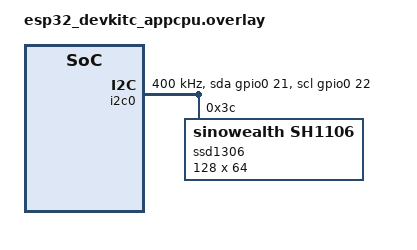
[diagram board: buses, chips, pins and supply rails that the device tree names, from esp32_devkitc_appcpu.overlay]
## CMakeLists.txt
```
cmake_minimum_required(VERSION 3.20.0)

find_package(Zephyr REQUIRED HINTS $ENV{ZEPHYR_BASE})

project(wol_appcpu)

target_include_directories(app PRIVATE
    ${CMAKE_SOURCE_DIR}/inc
    ${CMAKE_SOURCE_DIR}/../shared
)

target_sources(app PRIVATE src/main.c)
```

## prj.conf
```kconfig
# --- appcpu: display only ---
CONFIG_GPIO=y
CONFIG_I2C=y
CONFIG_DISPLAY=y
CONFIG_SSD1306=y
CONFIG_CHARACTER_FRAMEBUFFER=y
CONFIG_CHARACTER_FRAMEBUFFER_USE_DEFAULT_FONTS=n

CONFIG_MAIN_STACK_SIZE=4096
CONFIG_HEAP_MEM_POOL_SIZE=8192
CONFIG_LOG=y
CONFIG_PRINTK=y
```

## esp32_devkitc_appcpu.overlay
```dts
#include <zephyr/dt-bindings/i2c/i2c.h>
#include <dt-bindings/pinctrl/esp32-pinctrl.h>

/ {
	chosen {
		zephyr,display = &ssd1306;
	};
};

&i2c0 {
	status = "okay";
	clock-frequency = <I2C_BITRATE_FAST>;
	pinctrl-0 = <&i2c0_default>;
	pinctrl-names = "default";
	sda-gpios = <&gpio0 21 GPIO_OPEN_DRAIN>;
	scl-gpios = <&gpio0 22 GPIO_OPEN_DRAIN>;

	ssd1306: ssd1306@3c {
		compatible = "sinowealth,sh1106";
		reg = <0x3c>;
		width = <128>;
		height = <64>;
		segment-offset = <2>;
		page-offset = <0>;
		display-offset = <0>;
		multiplex-ratio = <63>;
		prechargep = <0x22>;
		ready-time-ms = <10>;
		segment-remap;
		com-invdir;
		use-internal-iref;
	};
};

&pinctrl {
	i2c0_default: i2c0_default {
		group1 {
			pinmux = <0x1E1E15>, <0x1D1D16>;
			bias-pull-up;
			drive-open-drain;
			output-high;
		};
	};
};
```

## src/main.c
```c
#include <zephyr/kernel.h>
#include <zephyr/device.h>
#include <zephyr/drivers/display.h>
#include <zephyr/display/cfb.h>
#include <zephyr/net/net_ip.h>
#include <stdio.h>
#include <string.h>
#include <stdbool.h>

#include "shared_mem.h"
#include "custom_font.h"

/* Convenience macro — appcpu only reads from shared state */
#define S (SHARED_STATE())

int main(void) {

    /* Wait for procpu to signal display start */
    printk("[APPCPU] Display core waiting...\n");
    while (!S->display_start_flag) {
        k_msleep(10);
    }
    printk("[APPCPU] Display core starting.\n");

    const struct device *disp = DEVICE_DT_GET(DT_CHOSEN(zephyr_display));

    int rc = cfb_framebuffer_init(disp);
    if (rc) {
        printk("[APPCPU] cfb_framebuffer_init failed: %d\n", rc);
        return -1;
    }

    // Apply the font loaded from custom_font.h
    cfb_framebuffer_set_font(disp, 0);
    cfb_framebuffer_invert(disp);

    /* --- FETCH TOTAL SCREEN DIMENSIONS --- */
    uint16_t screen_w = cfb_get_display_parameter(disp, CFB_DISPLAY_WIDTH);
    uint16_t screen_h = cfb_get_display_parameter(disp, CFB_DISPLAY_HEIGHT);
    uint8_t f_w, f_h;
    cfb_get_font_size(disp, 0, &f_w, &f_h);

    /* --- VERTICAL CENTERING MATH --- */
    // Divide the empty space by 4 (top margin, between row 1-2, between row 2-3, bottom margin)
    int gap_y = (screen_h - (3 * f_h)) / 4; 
    
    int y1 = gap_y;                 // Y position of row 1
    int y2 = y1 + f_h + gap_y;      // Y position of row 2
    int y3 = y2 + f_h + gap_y;      // Y position of row 3

    cfb_framebuffer_clear(disp, false);
    cfb_framebuffer_finalize(disp);
    display_blanking_off(disp);

    /* --- AP MODE: static screen --- */
    if (S->display_ap_mode) {
        const char *line1 = "WOL_ESP";
        const char *line2 = "192.168";
        const char *line3 = ".4.1";

        int x1 = (screen_w - (strlen(line1) * f_w)) / 2;
        int x2 = (screen_w - (strlen(line2) * f_w)) / 2;
        int x3 = (screen_w - (strlen(line3) * f_w)) / 2;

        cfb_print(disp, line1, (x1 < 0) ? 0 : x1, y1);
        cfb_print(disp, line2, (x2 < 0) ? 0 : x2, y2);
        cfb_print(disp, line3, (x3 < 0) ? 0 : x3, y3);
        cfb_framebuffer_finalize(disp);

        /* AP mode is static — just idle forever */
        while (1) { k_msleep(1000); }
    }

    /* --- STATION MODE: animated loop --- */
    static char prev_ip[INET_ADDRSTRLEN] = "";
    uint8_t anim_state = 0;

    while (1) {
        /* Rate-limit to ~40 FPS; also wake on ui_refresh_flag */
        if (S->ui_refresh_flag) {
            S->ui_refresh_flag = 0;
        } else {
            k_msleep(10);
        }

        /* ANIMATION (Y = y1) - Expanded to 21 characters wide (full screen width) */
        const char *arrows[] = {
            ">                    ", // 1
            ">>                   ", // 2
            ">>>                  ", // 3
            ">>>>                 ", // 4
            ">>>>>                ", // 5
            ">>>>>>               ", // 6
            ">>>>>>>              ", // 7
            ">>>>>>>>             ", // 8
            " >>>>>>>>            ", // 9
            "  >>>>>>>>           ", // 10
            "   >>>>>>>>          ", // 11
            "    >>>>>>>>         ", // 12
            "     >>>>>>>>        ", // 13
            "      >>>>>>>>       ", // 14
            "       >>>>>>>>      ", // 15
            "        >>>>>>>>     ", // 16
            "         >>>>>>>>    ", // 17
            "          >>>>>>>>   ", // 18
            "           >>>>>>>>  ", // 19
            "            >>>>>>>> ", // 20
            "             >>>>>>>>", // 21
            "              >>>>>>>", // 22
            "               >>>>>>", // 23
            "                >>>>>", // 24
            "                 >>>>", // 25
            "                  >>>", // 26
            "                   >>", // 27
            "                    >"  // 28
        };
        int num_frames = sizeof(arrows) / sizeof(arrows[0]); 
        int anim_w = 21 * f_w; // Total width in pixels (126 px)
        int anim_x = (screen_w - anim_w) / 2;
        
        // 21 spaces to clear the entire row from edge to edge
        cfb_print(disp, "                     ", anim_x, y1); 
        cfb_print(disp, arrows[anim_state], anim_x, y1);
        anim_state = (anim_state + 1) % num_frames;

        /* IP ADDRESS (Y = y2) */
        bool has_ip = S->has_ip;

        if (!has_ip) {
            cfb_print(disp, "                     ",             0, y2);
            cfb_print(disp, "Waiting",  (screen_w - (7 * f_w)) / 2, y2);
            cfb_print(disp, "                     ",             0, y3);
            cfb_print(disp, "WIFI",     (screen_w - (4 * f_w)) / 2, y3);
            prev_ip[0] = '\0';
        } else {
            char ip_buf[INET_ADDRSTRLEN];
            strncpy(ip_buf, (const char *)S->global_ip_str, sizeof(ip_buf) - 1);
            ip_buf[sizeof(ip_buf) - 1] = '\0';

            // Compare and draw the FULL IP address
            if (strcmp(ip_buf, prev_ip) != 0 || strlen(prev_ip) == 0) {
                cfb_print(disp, "                     ", 0, y2); // 21 spaces to clear
                int ip_x = (screen_w - (strlen(ip_buf) * f_w)) / 2;
                if (ip_x < 0) ip_x = 0;
                cfb_print(disp, ip_buf, ip_x, y2);
                
                strncpy(prev_ip, ip_buf, sizeof(prev_ip) - 1);
                prev_ip[sizeof(prev_ip) - 1] = '\0';
            } else {
                int ip_x = (screen_w - (strlen(prev_ip) * f_w)) / 2;
                if (ip_x < 0) ip_x = 0;
                cfb_print(disp, prev_ip, ip_x, y2);
            }

            /* TARGET PC FULL IP (Y = y3) */
            char tgt_buf[INET_ADDRSTRLEN];
            strncpy(tgt_buf, (const char *)S->target_pc_ip, sizeof(tgt_buf) - 1);
            tgt_buf[sizeof(tgt_buf) - 1] = '\0';

            char target_line[24] = "";
            snprintf(target_line, sizeof(target_line),
                     S->last_known_state ? " * %s " : " x %s ", tgt_buf);

            int text_len = strlen(target_line);
            int tgt_x = (screen_w - (text_len * f_w)) / 2;
            if (tgt_x < 0) tgt_x = 0;

            cfb_print(disp, "                     ", 0, y3); // 21 spaces to clear
            cfb_print(disp, target_line, tgt_x, y3);

        }

        cfb_framebuffer_finalize(disp);
    }

    return 0;
}
```

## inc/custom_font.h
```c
#ifndef CUSTOM_FONT_H
#define CUSTOM_FONT_H

#include <zephyr/display/cfb.h>
#include <zephyr/sys/iterable_sections.h>

//#define CUSTOM_FONT_6X8
#define CUSTOM_FONT_5X8
//#define CUSTOM_FONT_4X8

static const uint8_t custom_font_6x8_data[] = {
    /* 0x20 ' ' */ 0x00, 0x00, 0x00, 0x00, 0x00, 0x00,
    /* 0x21 '!' */ 0x00, 0x00, 0x5F, 0x00, 0x00, 0x00,
    /* 0x22 '"' */ 0x00, 0x07, 0x00, 0x07, 0x00, 0x00,
    /* 0x23 '#' */ 0x14, 0x7F, 0x14, 0x7F, 0x14, 0x00,
    /* 0x24 '$' */ 0x24, 0x2A, 0x7F, 0x2A, 0x12, 0x00,
    /* 0x25 '%' */ 0x23, 0x13, 0x08, 0x64, 0x62, 0x00,
    /* 0x26 '&' */ 0x36, 0x49, 0x55, 0x22, 0x50, 0x00,
    /* 0x27 ''' */ 0x00, 0x05, 0x03, 0x00, 0x00, 0x00,
    /* 0x28 '(' */ 0x00, 0x1C, 0x22, 0x41, 0x00, 0x00,
    /* 0x29 ')' */ 0x00, 0x41, 0x22, 0x1C, 0x00, 0x00,
    /* 0x2A '*' */ 0x14, 0x08, 0x3E, 0x08, 0x14, 0x00,
    /* 0x2B '+' */ 0x08, 0x08, 0x3E, 0x08, 0x08, 0x00,
    /* 0x2C ',' */ 0x00, 0x50, 0x30, 0x00, 0x00, 0x00,
    /* 0x2D '-' */ 0x08, 0x08, 0x08, 0x08, 0x08, 0x00,
    /* 0x2E '.' */ 0x00, 0x60, 0x60, 0x00, 0x00, 0x00,
    /* 0x2F '/' */ 0x20, 0x10, 0x08, 0x04, 0x02, 0x00,
    /* 0x30 '0' */ 0x3E, 0x51, 0x49, 0x45, 0x3E, 0x00,
    /* 0x31 '1' */ 0x00, 0x42, 0x7F, 0x40, 0x00, 0x00,
    /* 0x32 '2' */ 0x42, 0x61, 0x51, 0x49, 0x46, 0x00,
    /* 0x33 '3' */ 0x21, 0x41, 0x45, 0x4B, 0x31, 0x00,
    /* 0x34 '4' */ 0x18, 0x14, 0x12, 0x7F, 0x10, 0x00,
    /* 0x35 '5' */ 0x27, 0x45, 0x45, 0x45, 0x39, 0x00,
    /* 0x36 '6' */ 0x3C, 0x4A, 0x49, 0x49, 0x30, 0x00,
    /* 0x37 '7' */ 0x01, 0x71, 0x09, 0x05, 0x03, 0x00,
    /* 0x38 '8' */ 0x36, 0x49, 0x49, 0x49, 0x36, 0x00,
    /* 0x39 '9' */ 0x06, 0x49, 0x49, 0x29, 0x1E, 0x00,
    /* 0x3A ':' */ 0x00, 0x36, 0x36, 0x00, 0x00, 0x00,
    /* 0x3B ';' */ 0x00, 0x56, 0x36, 0x00, 0x00, 0x00,
    /* 0x3C '<' */ 0x08, 0x14, 0x22, 0x41, 0x00, 0x00,
    /* 0x3D '=' */ 0x14, 0x14, 0x14, 0x14, 0x14, 0x00,
    /* 0x3E '>' */ 0x00, 0x41, 0x22, 0x14, 0x08, 0x00,
    /* 0x3F '?' */ 0x02, 0x01, 0x51, 0x09, 0x06, 0x00,
    /* 0x40 '@' */ 0x32, 0x49, 0x79, 0x41, 0x3E, 0x00,
    /* 0x41 'A' */ 0x7E, 0x11, 0x11, 0x11, 0x7E, 0x00,
    /* 0x42 'B' */ 0x7F, 0x49, 0x49, 0x49, 0x36, 0x00,
    /* 0x43 'C' */ 0x3E, 0x41, 0x41, 0x41, 0x22, 0x00,
    /* 0x44 'D' */ 0x7F, 0x41, 0x41, 0x22, 0x1C, 0x00,
    /* 0x45 'E' */ 0x7F, 0x49, 0x49, 0x49, 0x41, 0x00,
    /* 0x46 'F' */ 0x7F, 0x09, 0x09, 0x09, 0x01, 0x00,
    /* 0x47 'G' */ 0x3E, 0x41, 0x49, 0x49, 0x7A, 0x00,
    /* 0x48 'H' */ 0x7F, 0x08, 0x08, 0x08, 0x7F, 0x00,
    /* 0x49 'I' */ 0x00, 0x41, 0x7F, 0x41, 0x00, 0x00,
    /* 0x4A 'J' */ 0x20, 0x40, 0x41, 0x3F, 0x01, 0x00,
    /* 0x4B 'K' */ 0x7F, 0x08, 0x14, 0x22, 0x41, 0x00,
    /* 0x4C 'L' */ 0x7F, 0x40, 0x40, 0x40, 0x40, 0x00,
    /* 0x4D 'M' */ 0x7F, 0x02, 0x0C, 0x02, 0x7F, 0x00,
    /* 0x4E 'N' */ 0x7F, 0x04, 0x08, 0x10, 0x7F, 0x00,
    /* 0x4F 'O' */ 0x3E, 0x41, 0x41, 0x41, 0x3E, 0x00,
    /* 0x50 'P' */ 0x7F, 0x09, 0x09, 0x09, 0x06, 0x00,
    /* 0x51 'Q' */ 0x3E, 0x41, 0x51, 0x21, 0x5E, 0x00,
    /* 0x52 'R' */ 0x7F, 0x09, 0x19, 0x29, 0x46, 0x00,
    /* 0x53 'S' */ 0x46, 0x49, 0x49, 0x49, 0x31, 0x00,
    /* 0x54 'T' */ 0x01, 0x01, 0x7F, 0x01, 0x01, 0x00,
    /* 0x55 'U' */ 0x3F, 0x40, 0x40, 0x40, 0x3F, 0x00,
    /* 0x56 'V' */ 0x1F, 0x20, 0x40, 0x20, 0x1F, 0x00,
    /* 0x57 'W' */ 0x3F, 0x40, 0x38, 0x40, 0x3F, 0x00,
    /* 0x58 'X' */ 0x63, 0x14, 0x08, 0x14, 0x63, 0x00,
    /* 0x59 'Y' */ 0x07, 0x08, 0x70, 0x08, 0x07, 0x00,
    /* 0x5A 'Z' */ 0x61, 0x51, 0x49, 0x45, 0x43, 0x00,
    /* 0x5B '[' */ 0x00, 0x7F, 0x41, 0x41, 0x00, 0x00,
    /* 0x5C '\' */ 0x02, 0x04, 0x08, 0x10, 0x20, 0x00,
    /* 0x5D ']' */ 0x00, 0x41, 0x41, 0x7F, 0x00, 0x00,
    /* 0x5E '^' */ 0x04, 0x02, 0x01, 0x02, 0x04, 0x00,
    /* 0x5F '_' */ 0x40, 0x40, 0x40, 0x40, 0x40, 0x00,
    /* 0x60 '`' */ 0x00, 0x01, 0x02, 0x04, 0x00, 0x00,
    /* 0x61 'a' */ 0x20, 0x54, 0x54, 0x54, 0x78, 0x00,
    /* 0x62 'b' */ 0x7F, 0x48, 0x44, 0x44, 0x38, 0x00,
    /* 0x63 'c' */ 0x38, 0x44, 0x44, 0x44, 0x20, 0x00,
    /* 0x64 'd' */ 0x38, 0x44, 0x44, 0x48, 0x7F, 0x00,
    /* 0x65 'e' */ 0x38, 0x54, 0x54, 0x54, 0x18, 0x00,
    /* 0x66 'f' */ 0x08, 0x7E, 0x09, 0x01, 0x02, 0x00,
    /* 0x67 'g' */ 0x0C, 0x52, 0x52, 0x52, 0x3E, 0x00,
    /* 0x68 'h' */ 0x7F, 0x08, 0x04, 0x04, 0x78, 0x00,
    /* 0x69 'i' */ 0x00, 0x44, 0x7D, 0x40, 0x00, 0x00,
    /* 0x6A 'j' */ 0x20, 0x40, 0x44, 0x3D, 0x00, 0x00,
    /* 0x6B 'k' */ 0x7F, 0x10, 0x28, 0x44, 0x00, 0x00,
    /* 0x6C 'l' */ 0x00, 0x41, 0x7F, 0x40, 0x00, 0x00,
    /* 0x6D 'm' */ 0x7C, 0x04, 0x18, 0x04, 0x78, 0x00,
    /* 0x6E 'n' */ 0x7C, 0x08, 0x04, 0x04, 0x78, 0x00,
    /* 0x6F 'o' */ 0x38, 0x44, 0x44, 0x44, 0x38, 0x00,
    /* 0x70 'p' */ 0x7C, 0x14, 0x14, 0x14, 0x08, 0x00,
    /* 0x71 'q' */ 0x08, 0x14, 0x14, 0x18, 0x7C, 0x00,
    /* 0x72 'r' */ 0x7C, 0x08, 0x04, 0x04, 0x08, 0x00,
    /* 0x73 's' */ 0x48, 0x54, 0x54, 0x54, 0x20, 0x00,
    /* 0x74 't' */ 0x04, 0x3F, 0x44, 0x40, 0x20, 0x00,
    /* 0x75 'u' */ 0x3C, 0x40, 0x40, 0x20, 0x7C, 0x00,
    /* 0x76 'v' */ 0x1C, 0x20, 0x40, 0x20, 0x1C, 0x00,
    /* 0x77 'w' */ 0x3C, 0x40, 0x30, 0x40, 0x3C, 0x00,
    /* 0x78 'x' */ 0x44, 0x28, 0x10, 0x28, 0x44, 0x00,
    /* 0x79 'y' */ 0x0C, 0x50, 0x50, 0x50, 0x3C, 0x00,
    /* 0x7A 'z' */ 0x44, 0x64, 0x54, 0x4C, 0x44, 0x00,
    /* 0x7B '{' */ 0x00, 0x08, 0x36, 0x41, 0x00, 0x00,
    /* 0x7C '|' */ 0x00, 0x00, 0x77, 0x00, 0x00, 0x00,
    /* 0x7D '}' */ 0x00, 0x41, 0x36, 0x08, 0x00, 0x00,
    /* 0x7E '~' */ 0x08, 0x04, 0x08, 0x10, 0x08, 0x00
};

static const uint8_t custom_font_5x8_data[] = {
    /* 0x20 ' ' */ 0x00, 0x00, 0x00, 0x00, 0x00,
    /* 0x21 '!' */ 0x00, 0x00, 0x5F, 0x00, 0x00,
    /* 0x22 '"' */ 0x00, 0x07, 0x00, 0x07, 0x00,
    /* 0x23 '#' */ 0x14, 0x7F, 0x14, 0x7F, 0x14,
    /* 0x24 '$' */ 0x24, 0x2A, 0x7F, 0x2A, 0x12,
    /* 0x25 '%' */ 0x23, 0x13, 0x08, 0x64, 0x62,
    /* 0x26 '&' */ 0x36, 0x49, 0x55, 0x22, 0x50,
    /* 0x27 ''' */ 0x00, 0x05, 0x03, 0x00, 0x00,
    /* 0x28 '(' */ 0x00, 0x1C, 0x22, 0x41, 0x00,
    /* 0x29 ')' */ 0x00, 0x41, 0x22, 0x1C, 0x00,
    /* 0x2A '*' */ 0x14, 0x08, 0x3E, 0x08, 0x14,
    /* 0x2B '+' */ 0x08, 0x08, 0x3E, 0x08, 0x08,
    /* 0x2C ',' */ 0x00, 0x50, 0x30, 0x00, 0x00,
    /* 0x2D '-' */ 0x08, 0x08, 0x08, 0x08, 0x08,
    /* 0x2E '.' */ 0x00, 0x60, 0x60, 0x00, 0x00,
    /* 0x2F '/' */ 0x20, 0x10, 0x08, 0x04, 0x02,
    /* 0x30 '0' */ 0x3E, 0x51, 0x49, 0x45, 0x3E,
    /* 0x31 '1' */ 0x00, 0x42, 0x7F, 0x40, 0x00,
    /* 0x32 '2' */ 0x42, 0x61, 0x51, 0x49, 0x46,
    /* 0x33 '3' */ 0x21, 0x41, 0x45, 0x4B, 0x31,
    /* 0x34 '4' */ 0x18, 0x14, 0x12, 0x7F, 0x10,
    /* 0x35 '5' */ 0x27, 0x45, 0x45, 0x45, 0x39,
    /* 0x36 '6' */ 0x3C, 0x4A, 0x49, 0x49, 0x30,
    /* 0x37 '7' */ 0x01, 0x71, 0x09, 0x05, 0x03,
    /* 0x38 '8' */ 0x36, 0x49, 0x49, 0x49, 0x36,
    /* 0x39 '9' */ 0x06, 0x49, 0x49, 0x29, 0x1E,
    /* 0x3A ':' */ 0x00, 0x36, 0x36, 0x00, 0x00,
    /* 0x3B ';' */ 0x00, 0x56, 0x36, 0x00, 0x00,
    /* 0x3C '<' */ 0x08, 0x14, 0x22, 0x41, 0x00,
    /* 0x3D '=' */ 0x14, 0x14, 0x14, 0x14, 0x14,
    /* 0x3E '>' */ 0x00, 0x41, 0x22, 0x14, 0x08,
    /* 0x3F '?' */ 0x02, 0x01, 0x51, 0x09, 0x06,
    /* 0x40 '@' */ 0x32, 0x49, 0x79, 0x41, 0x3E,
    /* 0x41 'A' */ 0x7E, 0x11, 0x11, 0x11, 0x7E,
    /* 0x42 'B' */ 0x7F, 0x49, 0x49, 0x49, 0x36,
    /* 0x43 'C' */ 0x3E, 0x41, 0x41, 0x41, 0x22,
    /* 0x44 'D' */ 0x7F, 0x41, 0x41, 0x22, 0x1C,
    /* 0x45 'E' */ 0x7F, 0x49, 0x49, 0x49, 0x41,
    /* 0x46 'F' */ 0x7F, 0x09, 0x09, 0x09, 0x01,
    /* 0x47 'G' */ 0x3E, 0x41, 0x49, 0x49, 0x7A,
    /* 0x48 'H' */ 0x7F, 0x08, 0x08, 0x08, 0x7F,
    /* 0x49 'I' */ 0x00, 0x41, 0x7F, 0x41, 0x00,
    /* 0x4A 'J' */ 0x20, 0x40, 0x41, 0x3F, 0x01,
    /* 0x4B 'K' */ 0x7F, 0x08, 0x14, 0x22, 0x41,
    /* 0x4C 'L' */ 0x7F, 0x40, 0x40, 0x40, 0x40,
    /* 0x4D 'M' */ 0x7F, 0x02, 0x0C, 0x02, 0x7F,
    /* 0x4E 'N' */ 0x7F, 0x04, 0x08, 0x10, 0x7F,
    /* 0x4F 'O' */ 0x3E, 0x41, 0x41, 0x41, 0x3E,
    /* 0x50 'P' */ 0x7F, 0x09, 0x09, 0x09, 0x06,
    /* 0x51 'Q' */ 0x3E, 0x41, 0x51, 0x21, 0x5E,
    /* 0x52 'R' */ 0x7F, 0x09, 0x19, 0x29, 0x46,
    /* 0x53 'S' */ 0x46, 0x49, 0x49, 0x49, 0x31,
    /* 0x54 'T' */ 0x01, 0x01, 0x7F, 0x01, 0x01,
    /* 0x55 'U' */ 0x3F, 0x40, 0x40, 0x40, 0x3F,
    /* 0x56 'V' */ 0x1F, 0x20, 0x40, 0x20, 0x1F,
    /* 0x57 'W' */ 0x3F, 0x40, 0x38, 0x40, 0x3F,
    /* 0x58 'X' */ 0x63, 0x14, 0x08, 0x14, 0x63,
    /* 0x59 'Y' */ 0x07, 0x08, 0x70, 0x08, 0x07,
    /* 0x5A 'Z' */ 0x61, 0x51, 0x49, 0x45, 0x43,
    /* 0x5B '[' */ 0x00, 0x7F, 0x41, 0x41, 0x00,
    /* 0x5C '\' */ 0x02, 0x04, 0x08, 0x10, 0x20,
    /* 0x5D ']' */ 0x00, 0x41, 0x41, 0x7F, 0x00,
    /* 0x5E '^' */ 0x04, 0x02, 0x01, 0x02, 0x04,
    /* 0x5F '_' */ 0x40, 0x40, 0x40, 0x40, 0x40,
    /* 0x60 '`' */ 0x00, 0x01, 0x02, 0x04, 0x00,
    /* 0x61 'a' */ 0x20, 0x54, 0x54, 0x54, 0x78,
    /* 0x62 'b' */ 0x7F, 0x48, 0x44, 0x44, 0x38,
    /* 0x63 'c' */ 0x38, 0x44, 0x44, 0x44, 0x20,
    /* 0x64 'd' */ 0x38, 0x44, 0x44, 0x48, 0x7F,
    /* 0x65 'e' */ 0x38, 0x54, 0x54, 0x54, 0x18,
    /* 0x66 'f' */ 0x08, 0x7E, 0x09, 0x01, 0x02,
    /* 0x67 'g' */ 0x0C, 0x52, 0x52, 0x52, 0x3E,
    /* 0x68 'h' */ 0x7F, 0x08, 0x04, 0x04, 0x78,
    /* 0x69 'i' */ 0x00, 0x44, 0x7D, 0x40, 0x00,
    /* 0x6A 'j' */ 0x20, 0x40, 0x44, 0x3D, 0x00,
    /* 0x6B 'k' */ 0x7F, 0x10, 0x28, 0x44, 0x00,
    /* 0x6C 'l' */ 0x00, 0x41, 0x7F, 0x40, 0x00,
    /* 0x6D 'm' */ 0x7C, 0x04, 0x18, 0x04, 0x78,
    /* 0x6E 'n' */ 0x7C, 0x08, 0x04, 0x04, 0x78,
    /* 0x6F 'o' */ 0x38, 0x44, 0x44, 0x44, 0x38,
    /* 0x70 'p' */ 0x7C, 0x14, 0x14, 0x14, 0x08,
    /* 0x71 'q' */ 0x08, 0x14, 0x14, 0x18, 0x7C,
    /* 0x72 'r' */ 0x7C, 0x08, 0x04, 0x04, 0x08,
    /* 0x73 's' */ 0x48, 0x54, 0x54, 0x54, 0x20,
    /* 0x74 't' */ 0x04, 0x3F, 0x44, 0x40, 0x20,
    /* 0x75 'u' */ 0x3C, 0x40, 0x40, 0x20, 0x7C,
    /* 0x76 'v' */ 0x1C, 0x20, 0x40, 0x20, 0x1C,
    /* 0x77 'w' */ 0x3C, 0x40, 0x30, 0x40, 0x3C,
    /* 0x78 'x' */ 0x44, 0x28, 0x10, 0x28, 0x44,
    /* 0x79 'y' */ 0x0C, 0x50, 0x50, 0x50, 0x3C,
    /* 0x7A 'z' */ 0x44, 0x64, 0x54, 0x4C, 0x44,
    /* 0x7B '{' */ 0x00, 0x08, 0x36, 0x41, 0x00,
    /* 0x7C '|' */ 0x00, 0x00, 0x77, 0x00, 0x00,
    /* 0x7D '}' */ 0x00, 0x41, 0x36, 0x08, 0x00,
    /* 0x7E '~' */ 0x08, 0x04, 0x08, 0x10, 0x08
};

static const uint8_t custom_font_4x8_data[] = {
    /* 0x20 ' ' */ 0x00, 0x00, 0x00, 0x00,
    /* 0x21 '!' */ 0x00, 0x17, 0x00, 0x00,
    /* 0x22 '"' */ 0x03, 0x00, 0x03, 0x00,
    /* 0x23 '#' */ 0x0A, 0x1F, 0x0A, 0x00,
    /* 0x24 '$' */ 0x12, 0x1F, 0x09, 0x00,
    /* 0x25 '%' */ 0x13, 0x08, 0x19, 0x00,
    /* 0x26 '&' */ 0x0A, 0x15, 0x0A, 0x00,
    /* 0x27 ''' */ 0x00, 0x03, 0x00, 0x00,
    /* 0x28 '(' */ 0x00, 0x0E, 0x11, 0x00,
    /* 0x29 ')' */ 0x11, 0x0E, 0x00, 0x00,
    /* 0x2A '*' */ 0x0A, 0x04, 0x0A, 0x00,
    /* 0x2B '+' */ 0x04, 0x0E, 0x04, 0x00,
    /* 0x2C ',' */ 0x20, 0x10, 0x00, 0x00,
    /* 0x2D '-' */ 0x04, 0x04, 0x04, 0x00,
    /* 0x2E '.' */ 0x00, 0x10, 0x00, 0x00,
    /* 0x2F '/' */ 0x18, 0x04, 0x03, 0x00,
    /* 0x30 '0' */ 0x0E, 0x11, 0x0E, 0x00,
    /* 0x31 '1' */ 0x00, 0x1F, 0x00, 0x00,
    /* 0x32 '2' */ 0x12, 0x15, 0x09, 0x00,
    /* 0x33 '3' */ 0x11, 0x15, 0x0A, 0x00,
    /* 0x34 '4' */ 0x07, 0x04, 0x1F, 0x00,
    /* 0x35 '5' */ 0x17, 0x15, 0x09, 0x00,
    /* 0x36 '6' */ 0x0E, 0x15, 0x08, 0x00,
    /* 0x37 '7' */ 0x01, 0x11, 0x0F, 0x00,
    /* 0x38 '8' */ 0x0A, 0x15, 0x0A, 0x00,
    /* 0x39 '9' */ 0x02, 0x15, 0x0E, 0x00,
    /* 0x3A ':' */ 0x00, 0x0A, 0x00, 0x00,
    /* 0x3B ';' */ 0x10, 0x0A, 0x00, 0x00,
    /* 0x3C '<' */ 0x04, 0x0A, 0x11, 0x00,
    /* 0x3D '=' */ 0x0A, 0x0A, 0x0A, 0x00,
    /* 0x3E '>' */ 0x11, 0x0A, 0x04, 0x00,
    /* 0x3F '?' */ 0x01, 0x15, 0x02, 0x00,
    /* 0x40 '@' */ 0x0E, 0x15, 0x16, 0x00,
    /* 0x41 'A' */ 0x1E, 0x05, 0x1E, 0x00,
    /* 0x42 'B' */ 0x1F, 0x15, 0x0A, 0x00,
    /* 0x43 'C' */ 0x0E, 0x11, 0x11, 0x00,
    /* 0x44 'D' */ 0x1F, 0x11, 0x0E, 0x00,
    /* 0x45 'E' */ 0x1F, 0x15, 0x11, 0x00,
    /* 0x46 'F' */ 0x1F, 0x05, 0x01, 0x00,
    /* 0x47 'G' */ 0x0E, 0x15, 0x1D, 0x00,
    /* 0x48 'H' */ 0x1F, 0x04, 0x1F, 0x00,
    /* 0x49 'I' */ 0x11, 0x1F, 0x11, 0x00,
    /* 0x4A 'J' */ 0x08, 0x10, 0x0F, 0x00,
    /* 0x4B 'K' */ 0x1F, 0x04, 0x1B, 0x00,
    /* 0x4C 'L' */ 0x1F, 0x10, 0x10, 0x00,
    /* 0x4D 'M' */ 0x1F, 0x02, 0x1F, 0x00,
    /* 0x4E 'N' */ 0x1F, 0x02, 0x1C, 0x00,
    /* 0x4F 'O' */ 0x0E, 0x11, 0x0E, 0x00,
    /* 0x50 'P' */ 0x1F, 0x05, 0x02, 0x00,
    /* 0x51 'Q' */ 0x0E, 0x11, 0x2E, 0x00,
    /* 0x52 'R' */ 0x1F, 0x05, 0x1A, 0x00,
    /* 0x53 'S' */ 0x12, 0x15, 0x09, 0x00,
    /* 0x54 'T' */ 0x01, 0x1F, 0x01, 0x00,
    /* 0x55 'U' */ 0x0F, 0x10, 0x0F, 0x00,
    /* 0x56 'V' */ 0x07, 0x18, 0x07, 0x00,
    /* 0x57 'W' */ 0x1F, 0x08, 0x1F, 0x00,
    /* 0x58 'X' */ 0x1B, 0x04, 0x1B, 0x00,
    /* 0x59 'Y' */ 0x03, 0x1C, 0x03, 0x00,
    /* 0x5A 'Z' */ 0x19, 0x15, 0x13, 0x00,
    /* 0x5B '[' */ 0x1F, 0x11, 0x00, 0x00,
    /* 0x5C '\' */ 0x03, 0x0C, 0x18, 0x00,
    /* 0x5D ']' */ 0x11, 0x1F, 0x00, 0x00,
    /* 0x5E '^' */ 0x02, 0x01, 0x02, 0x00,
    /* 0x5F '_' */ 0x20, 0x20, 0x20, 0x00,
    /* 0x60 '`' */ 0x01, 0x02, 0x00, 0x00,
    /* 0x61 'a' */ 0x0C, 0x12, 0x1C, 0x00,
    /* 0x62 'b' */ 0x1F, 0x14, 0x08, 0x00,
    /* 0x63 'c' */ 0x0C, 0x12, 0x12, 0x00,
    /* 0x64 'd' */ 0x08, 0x14, 0x1F, 0x00,
    /* 0x65 'e' */ 0x1C, 0x1A, 0x12, 0x00,
    /* 0x66 'f' */ 0x04, 0x1F, 0x05, 0x00,
    /* 0x67 'g' */ 0x28, 0x2A, 0x1C, 0x00,
    /* 0x68 'h' */ 0x1F, 0x04, 0x18, 0x00,
    /* 0x69 'i' */ 0x00, 0x1D, 0x00, 0x00,
    /* 0x6A 'j' */ 0x20, 0x20, 0x1D, 0x00,
    /* 0x6B 'k' */ 0x1F, 0x08, 0x14, 0x00,
    /* 0x6C 'l' */ 0x00, 0x1F, 0x00, 0x00,
    /* 0x6D 'm' */ 0x1C, 0x0C, 0x1C, 0x00,
    /* 0x6E 'n' */ 0x1C, 0x04, 0x18, 0x00,
    /* 0x6F 'o' */ 0x08, 0x14, 0x08, 0x00,
    /* 0x70 'p' */ 0x3C, 0x0A, 0x04, 0x00,
    /* 0x71 'q' */ 0x04, 0x0A, 0x3C, 0x00,
    /* 0x72 'r' */ 0x1C, 0x04, 0x04, 0x00,
    /* 0x73 's' */ 0x12, 0x15, 0x09, 0x00,
    /* 0x74 't' */ 0x04, 0x1E, 0x14, 0x00,
    /* 0x75 'u' */ 0x0C, 0x10, 0x1C, 0x00,
    /* 0x76 'v' */ 0x04, 0x18, 0x04, 0x00,
    /* 0x77 'w' */ 0x1C, 0x10, 0x1C, 0x00,
    /* 0x78 'x' */ 0x14, 0x08, 0x14, 0x00,
    /* 0x79 'y' */ 0x24, 0x2A, 0x1C, 0x00,
    /* 0x7A 'z' */ 0x18, 0x14, 0x12, 0x00,
    /* 0x7B '{' */ 0x04, 0x1B, 0x11, 0x00,
    /* 0x7C '|' */ 0x00, 0x1F, 0x00, 0x00,
    /* 0x7D '}' */ 0x11, 0x1B, 0x04, 0x00,
    /* 0x7E '~' */ 0x02, 0x01, 0x02, 0x00
};

#ifdef CUSTOM_FONT_6X8
    STRUCT_SECTION_ITERABLE(cfb_font, custom_font_6x8) = {
        .data = custom_font_6x8_data,
        .caps = CFB_FONT_MONO_VPACKED,
        .width = 6,
        .height = 8,
        .first_char = 32,
        .last_char = 126,
    };

#elif defined(CUSTOM_FONT_5X8)

    STRUCT_SECTION_ITERABLE(cfb_font, custom_font_5x8) = {
        .data = custom_font_5x8_data,
        .caps = CFB_FONT_MONO_VPACKED,
        .width = 5,
        .height = 8,
        .first_char = 32,
        .last_char = 126,
    };

#elif defined(CUSTOM_FONT_4X8)

    STRUCT_SECTION_ITERABLE(cfb_font, custom_font_4x8) = {
        .data = custom_font_4x8_data,
        .caps = CFB_FONT_MONO_VPACKED,
        .width = 4,
        .height = 8,
        .first_char = 32,
        .last_char = 126,
    };

#endif


#endif /* CUSTOM_FONT_H */
```
